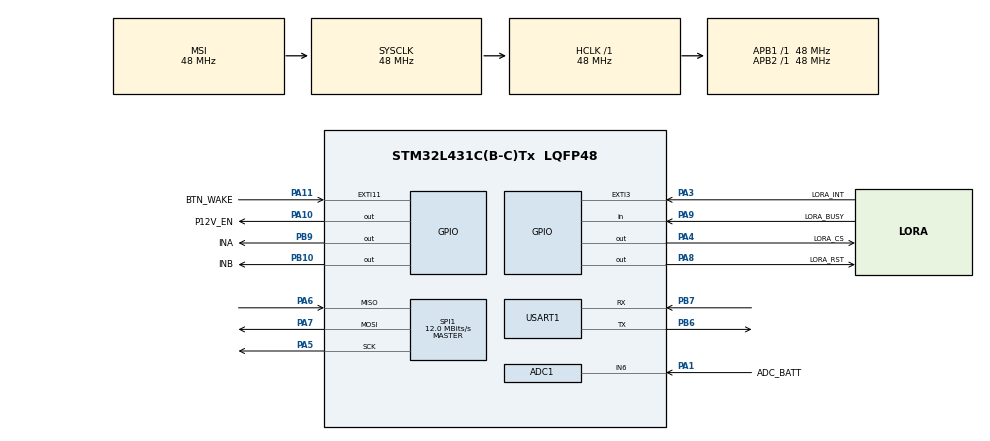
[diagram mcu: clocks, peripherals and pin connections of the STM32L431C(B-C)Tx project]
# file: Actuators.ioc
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ADC1.Channel-0\#ChannelRegularConversion=ADC_CHANNEL_6
ADC1.NbrOfConversionFlag=1
ADC1.OffsetNumber-0\#ChannelRegularConversion=ADC_OFFSET_NONE
ADC1.Rank-0\#ChannelRegularConversion=1
ADC1.SamplingTime-0\#ChannelRegularConversion=ADC_SAMPLETIME_2CYCLES_5
ADC1.master=1
FREERTOS.INCLUDE_pcTaskGetTaskName=1
FREERTOS.INCLUDE_xEventGroupSetBitFromISR=1
FREERTOS.INCLUDE_xTaskAbortDelay=1
FREERTOS.INCLUDE_xTaskGetHandle=1
FREERTOS.Tasks01=defaultTask,24,128,StartDefaultTask,Default,NULL,Dynamic,NULL,NULL
FREERTOS.configCHECK_FOR_STACK_OVERFLOW=2
FREERTOS.configENABLE_FPU=1
FREERTOS.configTOTAL_HEAP_SIZE=40960
FREERTOS.configUSE_IDLE_HOOK=1
FREERTOS.configUSE_MALLOC_FAILED_HOOK=1
Mcu.Family=STM32L4
Mcu.Name=STM32L431C(B-C)Tx
Mcu.Package=LQFP48
Mcu.UserConstants=LORA_SPI,hspi1;LOG_UART,huart1;BATT_ADC,hadc1;NFC_SPI,hspi2
NVIC.EXTI15_10_IRQn=true\:5\:0\:false\:false\:true\:true\:true\:true\:true
NVIC.EXTI3_IRQn=true\:5\:0\:false\:false\:true\:true\:true\:true\:true
NVIC.PriorityGroup=NVIC_PRIORITYGROUP_4
NVIC.RTC_Alarm_IRQn=true\:5\:0\:false\:false\:true\:true\:true\:true\:true
PA1.GPIO_Label=ADC_BATT
PA1.Signal=ADCx_IN6
PA10.GPIO_Label=P12V_EN
PA10.Signal=GPIO_Output
PA11.GPIO_Label=BTN_WAKE
PA11.GPIO_ModeDefaultEXTI=GPIO_MODE_IT_FALLING
PA11.Signal=GPXTI11
PA13\ (JTMS-SWDIO).Mode=Serial_Wire
PA13\ (JTMS-SWDIO).Signal=SYS_JTMS-SWDIO
PA14\ (JTCK-SWCLK).Mode=Serial_Wire
PA14\ (JTCK-SWCLK).Signal=SYS_JTCK-SWCLK
PA3.GPIO_Label=LORA_INT
PA3.Signal=GPXTI3
PA4.GPIO_Label=LORA_CS
PA4.PinState=GPIO_PIN_SET
PA4.Signal=GPIO_Output
PA5.Mode=Full_Duplex_Master
PA5.Signal=SPI1_SCK
PA6.Mode=Full_Duplex_Master
PA6.Signal=SPI1_MISO
PA7.Mode=Full_Duplex_Master
PA7.Signal=SPI1_MOSI
PA8.GPIO_Label=LORA_RST
PA8.PinState=GPIO_PIN_SET
PA8.Signal=GPIO_Output
PA9.GPIO_Label=LORA_BUSY
PA9.Signal=GPIO_Input
PB10.GPIO_Label=INB
PB10.Signal=GPIO_Output
PB6.Mode=Asynchronous
PB6.Signal=USART1_TX
PB7.Mode=Asynchronous
PB7.Signal=USART1_RX
PB9.GPIO_Label=INA
PB9.Signal=GPIO_Output
PC14-OSC32_IN\ (PC14).Mode=LSE-External-Oscillator
PC14-OSC32_IN\ (PC14).Signal=RCC_OSC32_IN
PC15-OSC32_OUT\ (PC15).Mode=LSE-External-Oscillator
PC15-OSC32_OUT\ (PC15).Signal=RCC_OSC32_OUT
ProjectManager.HeapSize=0x200
ProjectManager.StackSize=0x400
ProjectManager.TargetToolchain=STM32CubeIDE
RCC.ADCCLockSelection=RCC_ADCCLKSOURCE_SYSCLK
RCC.ADCFreq_Value=48000000
RCC.AHBFreq_Value=48000000
RCC.APB1Freq_Value=48000000
RCC.APB1TimFreq_Value=48000000
RCC.APB2Freq_Value=48000000
RCC.APB2TimFreq_Value=48000000
RCC.CortexFreq_Value=48000000
RCC.HCLKFreq_Value=48000000
RCC.HSE_VALUE=8000000
RCC.HSI48_VALUE=48000000
RCC.HSI_VALUE=16000000
RCC.LPTIM1CLockSelection=RCC_LPTIM1CLKSOURCE_LSI
RCC.MSIClockRange=RCC_MSIRANGE_11
RCC.MSI_VALUE=48000000
RCC.PLLM=4
RCC.RTCClockSelection=RCC_RTCCLKSOURCE_LSE
RCC.SYSCLKFreq_VALUE=48000000
RCC.VCOOutputFreq_Value=96000000
RTC.Alarm-Alarm\ A=RTC_ALARM_A
RTC.AsynchPrediv=32
RTC.Format=RTC_FORMAT_BIN
RTC.SynchPrediv=1000
SH.ADCx_IN6.0=ADC1_IN6,IN6-Single-Ended
SPI1.BaudRatePrescaler=SPI_BAUDRATEPRESCALER_4
SPI1.CalculateBaudRate=12.0 MBits/s
SPI1.DataSize=SPI_DATASIZE_8BIT
SPI1.Direction=SPI_DIRECTION_2LINES
SPI1.Mode=SPI_MODE_MASTER
SPI1.VirtualType=VM_MASTER
USART1.VirtualMode-Asynchronous=VM_ASYNC
VP_CRC_VS_CRC.Mode=CRC_Activate
VP_FREERTOS_VS_CMSIS_V2.Mode=CMSIS_V2
VP_RTC_VS_RTC_Activate.Mode=RTC_Enabled
VP_RTC_VS_RTC_Alarm_A_Intern.Mode=Alarm A
VP_RTC_VS_RTC_Calendar.Mode=RTC_Calendar
board=custom

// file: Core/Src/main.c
/* USER CODE BEGIN Header */
/**
  ******************************************************************************
  * @file           : main.c
  * @brief          : Main program body
  ******************************************************************************
  * @attention
  *
  * Copyright (c) 2024 STMicroelectronics.
  * All rights reserved.
  *
  * This software is licensed under terms that can be found in the LICENSE file
  * in the root directory of this software component.
  * If no LICENSE file comes with this software, it is provided AS-IS.
  *
  ******************************************************************************
  */
/* USER CODE END Header */
#include "main.h"
#include "cmsis_os.h"
#include "adc.h"
#include "crc.h"
#include "rtc.h"
#include "spi.h"
#include "usart.h"
#include "gpio.h"

/* USER CODE BEGIN Includes */
#include "FreeRTOS.h"
#include "task.h"
#include "stdio.h"
#include "string.h"
#include "logger.h"
/* USER CODE END Includes */

void SystemClock_Config(void);
void MX_FREERTOS_Init(void);

/* USER CODE BEGIN 0 */
static void main_task(void *arg){
	extern void app_main(void);
	app_main();
	vTaskDelete(NULL);
}

void log_port_flush_string(char *string){
	HAL_UART_Transmit(&huart1, (uint8_t *)string, strlen(string), 1000);
}

int _write(int file, char *ptr, int len) {
	(void) file;

	HAL_UART_Transmit(&huart1, (uint8_t*) ptr, len, 1000);
	fflush(stdout);

	return len;
}
/* USER CODE END 0 */

int main(void)
{

  /* MCU Configuration--------------------------------------------------------*/

  /* Reset of all peripherals, Initializes the Flash interface and the Systick. */
  HAL_Init();

  /* Configure the system clock */
  SystemClock_Config();

  /* Initialize all configured peripherals */
  MX_GPIO_Init();
  MX_RTC_Init();
  MX_ADC1_Init();
  MX_SPI1_Init();
  MX_USART1_UART_Init();
  MX_CRC_Init();
  /* USER CODE BEGIN 2 */
	log_monitor_init(log_port_flush_string);

	log_port_flush_string("\r\n\r\n\r\n\r\n\r\n\r\n\r\n\r\n");
	LOGI("STARTUP", "App startup.");

	osKernelInitialize();
	if (xTaskCreate(main_task, "main_task", 512, NULL, 1, NULL) != pdTRUE)
		LOGE("STARTUP", "sys_main task startup fail");
	osKernelStart();
  /* USER CODE END 2 */

  /* Init scheduler */
  osKernelInitialize();

  /* Call init function for freertos objects (in cmsis_os2.c) */
  MX_FREERTOS_Init();

  /* Start scheduler */
  osKernelStart();

  /* We should never get here as control is now taken by the scheduler */

  /* Infinite loop */
  while (1)
  {

  }
}

void SystemClock_Config(void)
{
  RCC_OscInitTypeDef RCC_OscInitStruct = {0};
  RCC_ClkInitTypeDef RCC_ClkInitStruct = {0};

  /** Configure the main internal regulator output voltage
  */
  if (HAL_PWREx_ControlVoltageScaling(PWR_REGULATOR_VOLTAGE_SCALE1) != HAL_OK)
  {
    Error_Handler();
  }

  /** Configure LSE Drive Capability
  */
  HAL_PWR_EnableBkUpAccess();
  __HAL_RCC_LSEDRIVE_CONFIG(RCC_LSEDRIVE_LOW);

  /** Initializes the RCC Oscillators according to the specified parameters
  * in the RCC_OscInitTypeDef structure.
  */
  RCC_OscInitStruct.OscillatorType = RCC_OSCILLATORTYPE_LSE|RCC_OSCILLATORTYPE_MSI;
  RCC_OscInitStruct.LSEState = RCC_LSE_ON;
  RCC_OscInitStruct.MSIState = RCC_MSI_ON;
  RCC_OscInitStruct.MSICalibrationValue = 0;
  RCC_OscInitStruct.MSIClockRange = RCC_MSIRANGE_11;
  RCC_OscInitStruct.PLL.PLLState = RCC_PLL_NONE;
  if (HAL_RCC_OscConfig(&RCC_OscInitStruct) != HAL_OK)
  {
    Error_Handler();
  }

  /** Initializes the CPU, AHB and APB buses clocks
  */
  RCC_ClkInitStruct.ClockType = RCC_CLOCKTYPE_HCLK|RCC_CLOCKTYPE_SYSCLK
                              |RCC_CLOCKTYPE_PCLK1|RCC_CLOCKTYPE_PCLK2;
  RCC_ClkInitStruct.SYSCLKSource = RCC_SYSCLKSOURCE_MSI;
  RCC_ClkInitStruct.AHBCLKDivider = RCC_SYSCLK_DIV1;
  RCC_ClkInitStruct.APB1CLKDivider = RCC_HCLK_DIV1;
  RCC_ClkInitStruct.APB2CLKDivider = RCC_HCLK_DIV1;

  if (HAL_RCC_ClockConfig(&RCC_ClkInitStruct, FLASH_LATENCY_2) != HAL_OK)
  {
    Error_Handler();
  }

  /** Enable MSI Auto calibration
  */
  HAL_RCCEx_EnableMSIPLLMode();
}

void Error_Handler(void)
{
  __disable_irq();
  while (1)
  {
  }
}

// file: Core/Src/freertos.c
/* USER CODE BEGIN Header */
/**
  ******************************************************************************
  * File Name          : freertos.c
  * Description        : Code for freertos applications
  ******************************************************************************
  * @attention
  *
  * Copyright (c) 2024 STMicroelectronics.
  * All rights reserved.
  *
  * This software is licensed under terms that can be found in the LICENSE file
  * in the root directory of this software component.
  * If no LICENSE file comes with this software, it is provided AS-IS.
  *
  ******************************************************************************
  */
/* USER CODE END Header */

#include "FreeRTOS.h"
#include "task.h"
#include "main.h"
#include "cmsis_os.h"

/* Definitions for defaultTask */
osThreadId_t defaultTaskHandle;
const osThreadAttr_t defaultTask_attributes = {
  .name = "defaultTask",
  .stack_size = 128 * 4,
  .priority = (osPriority_t) osPriorityNormal,
};

void StartDefaultTask(void *argument);

void MX_FREERTOS_Init(void); /* (MISRA C 2004 rule 8.1) */

/* Hook prototypes */
void vApplicationIdleHook(void);
void vApplicationStackOverflowHook(xTaskHandle xTask, signed char *pcTaskName);
void vApplicationMallocFailedHook(void);

/* USER CODE BEGIN 2 */
void vApplicationIdleHook( void )
{
   /* vApplicationIdleHook() will only be called if configUSE_IDLE_HOOK is set
   to 1 in FreeRTOSConfig.h. It will be called on each iteration of the idle
   task. It is essential that code added to this hook function never attempts
   to block in any way (for example, call xQueueReceive() with a block time
   specified, or call vTaskDelay()). If the application makes use of the
   vTaskDelete() API function (as this demo application does) then it is also
   important that vApplicationIdleHook() is permitted to return to its calling
   function, because it is the responsibility of the idle task to clean up
   memory allocated by the kernel to any task that has since been deleted. */
}
/* USER CODE END 2 */

/* USER CODE BEGIN 4 */
void vApplicationStackOverflowHook(xTaskHandle xTask, signed char *pcTaskName)
{
   /* Run time stack overflow checking is performed if
   configCHECK_FOR_STACK_OVERFLOW is defined to 1 or 2. This hook function is
   called if a stack overflow is detected. */
}
/* USER CODE END 4 */

/* USER CODE BEGIN 5 */
void vApplicationMallocFailedHook(void)
{
   /* vApplicationMallocFailedHook() will only be called if
   configUSE_MALLOC_FAILED_HOOK is set to 1 in FreeRTOSConfig.h. It is a hook
   function that will get called if a call to pvPortMalloc() fails.
   pvPortMalloc() is called internally by the kernel whenever a task, queue,
   timer or semaphore is created. It is also called by various parts of the
   demo application. If heap_1.c or heap_2.c are used, then the size of the
   heap available to pvPortMalloc() is defined by configTOTAL_HEAP_SIZE in
   FreeRTOSConfig.h, and the xPortGetFreeHeapSize() API function can be used
   to query the size of free heap space that remains (although it does not
   provide information on how the remaining heap might be fragmented). */
}
/* USER CODE END 5 */

void MX_FREERTOS_Init(void) {

  /* Create the thread(s) */
  /* creation of defaultTask */
  defaultTaskHandle = osThreadNew(StartDefaultTask, NULL, &defaultTask_attributes);

}

void StartDefaultTask(void *argument)
{
  for(;;)
  {
    osDelay(1);
  }
}
